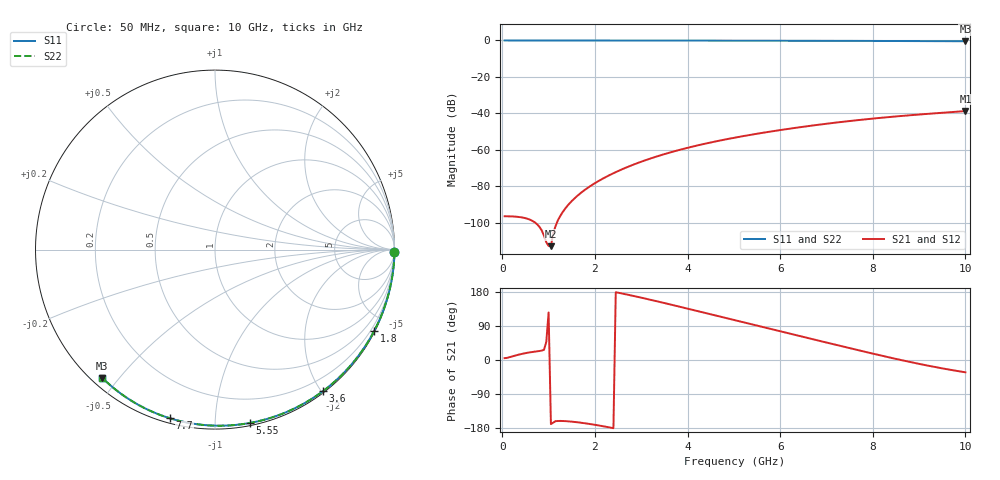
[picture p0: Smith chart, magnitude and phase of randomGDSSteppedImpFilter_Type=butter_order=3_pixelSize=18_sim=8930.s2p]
! freq	dB(S11)	phase(S11)	dB(S12)	phase(S12)
!  dB(S21)	phase(S21)	dB(S22)	phase(S22)
!S-par simulation data
#  GHz  S  DB  R 50
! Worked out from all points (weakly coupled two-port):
!   200 points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, 50 MHz to 10 GHz, reference 50 ohm
!   highest |S21| = -38.71 dB at 10 GHz (marker M1); lowest = -112.7 dB at 1.05 GHz (marker M2)
!   lowest |S11| = -0.4 dB at 10 GHz (marker M3), VSWR 40.21, Z = 1.5 - j22.6 ohm
!   |S11| at or under -10 dB: nowhere
!   |S22| runs from -0.4 to 0.0 dB; largest |S21 - S12| = 0
!   S11 on the Smith chart (normalised r, x): 50 MHz: open; 1.8 GHz: 0.04, -4.18; 3.6 GHz: 0.02, -2.02; 5.55 GHz: 0.02, -1.22; 7.7 GHz: 0.02, -0.77; 10 GHz: 0.03, -0.45
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0.05  -0.00 -0.8  -96.33 4.9  -96.33 4.9  -0.00 -0.8
0.55  -0.01 -8.3  -97.76 19.2  -97.76 19.2  -0.01 -8.3
1.05  -0.02 -15.8  -112.73 -169.2  -112.73 -169.2  -0.02 -15.8
1.75  -0.03 -26.2  -82.49 -166.3  -82.49 -166.3  -0.03 -26.2
1.8  -0.03 -26.9  -81.55 -167.2  -81.55 -167.2  -0.03 -26.9
1.9  -0.04 -28.4  -79.81 -169.0  -79.81 -169.0  -0.04 -28.4
2.05  -0.04 -30.6  -77.44 -172.0  -77.44 -172.0  -0.04 -30.6
2.25  -0.04 -33.5  -74.63 -176.4  -74.63 -176.4  -0.04 -33.5
2.65  -0.05 -39.2  -69.90 173.8  -69.90 173.8  -0.05 -39.2
3  -0.06 -44.2  -66.44 164.5  -66.44 164.5  -0.06 -44.2
3.4  -0.07 -49.9  -63.05 153.2  -63.05 153.2  -0.07 -49.9
3.6  -0.07 -52.6  -61.54 147.4  -61.54 147.4  -0.07 -52.6
3.9  -0.08 -56.8  -59.47 138.5  -59.47 138.5  -0.08 -56.8
4.3  -0.09 -62.2  -57.02 126.6  -57.02 126.6  -0.09 -62.2
5.05  -0.11 -72.2  -53.12 104.1  -53.12 104.1  -0.11 -72.2
5.55  -0.13 -78.6  -50.90 89.1  -50.90 89.1  -0.13 -78.6
6.1  -0.15 -85.6  -48.73 72.8  -48.73 72.8  -0.15 -85.6
6.7  -0.18 -93.0  -46.61 55.0  -46.61 55.0  -0.18 -93.0
7.7  -0.24 -105.0  -43.59 25.5  -43.59 25.5  -0.24 -105.0
8.35  -0.29 -112.6  -41.97 7.0  -41.97 7.0  -0.29 -112.6
9.15  -0.35 -121.7  -40.29 -13.9  -40.29 -13.9  -0.35 -121.8
10  -0.43 -131.3  -38.71 -32.4  -38.71 -32.4  -0.43 -131.3
